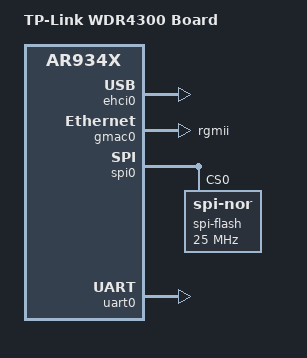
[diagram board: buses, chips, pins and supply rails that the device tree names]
// SPDX-License-Identifier: GPL-2.0+
/*
 * Copyright (C) 2016 Marek Vasut <marex@denx.de>
 */

/dts-v1/;
#include "ar934x.dtsi"

/ {
	model = "TP-Link WDR4300 Board";
	compatible = "tplink,wdr4300", "qca,ar934x";

	aliases {
		serial0 = &uart0;
		spi0 = &spi0;
	};

	chosen {
		stdout-path = "serial0:115200n8";
	};
};

&ehci0 {
	status = "okay";
};

&gmac0 {
	phy-mode = "rgmii";
	status = "okay";
};

&spi0 {
	spi-max-frequency = <25000000>;
	status = "okay";
	spi-flash@0 {
		#address-cells = <1>;
		#size-cells = <1>;
		compatible = "jedec,spi-nor";
		memory-map = <0x1e000000 0x00800000>;
		spi-max-frequency = <25000000>;
		reg = <0>;
	};
};

&uart0 {
	clock-frequency = <40000000>;
	status = "okay";
};

&xtal {
	clock-frequency = <40000000>;
};
